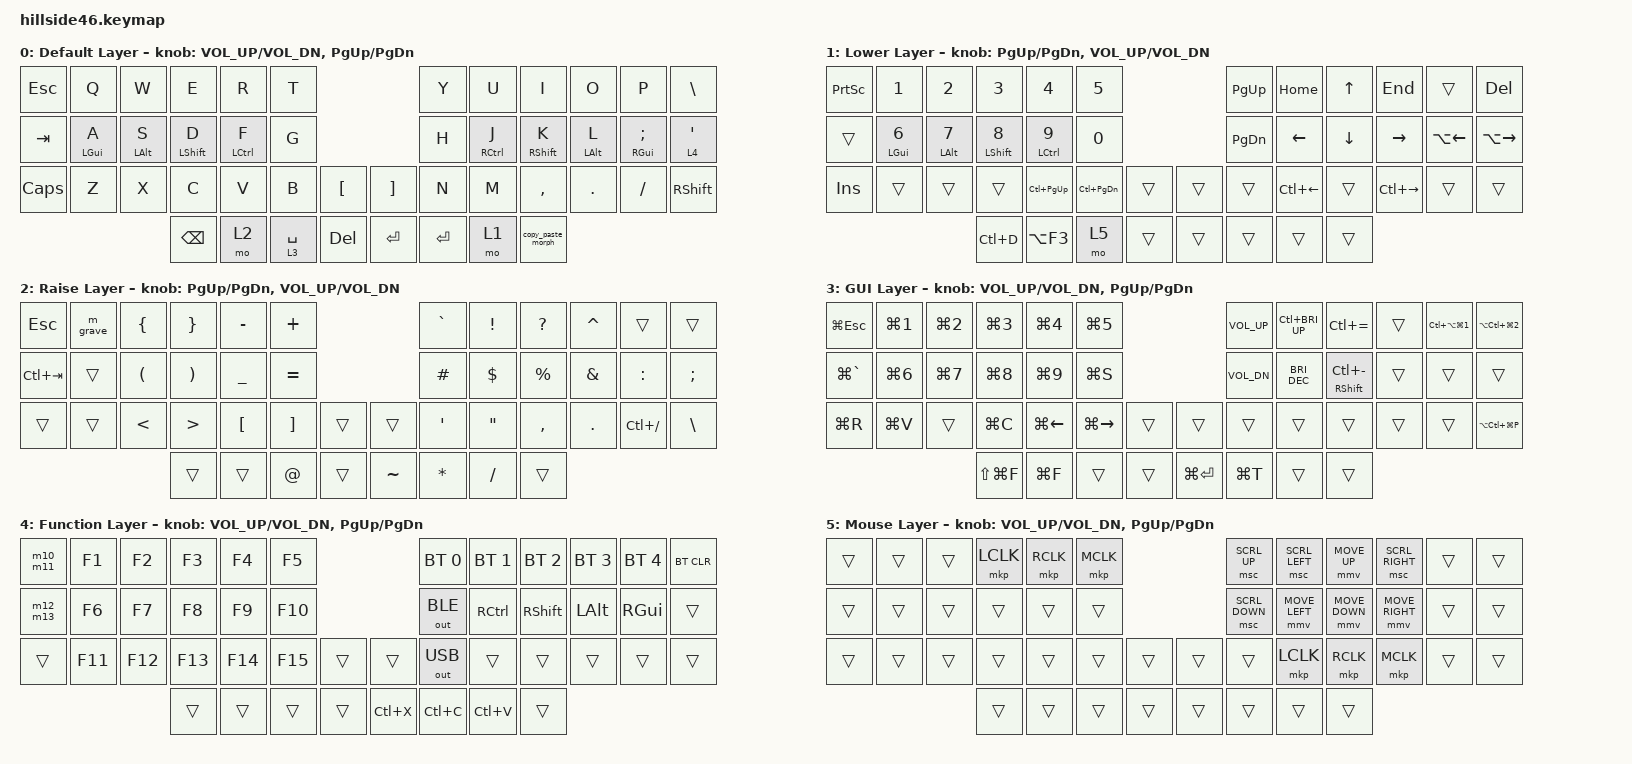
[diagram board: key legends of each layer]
/*
 * Copyright (c) 2020 The ZMK Contributors
 *
 * SPDX-License-Identifier: MIT
 */

#include <behaviors.dtsi>
#include <dt-bindings/zmk/bt.h>
#include <dt-bindings/zmk/keys.h>
#include <dt-bindings/zmk/outputs.h>
#include <dt-bindings/zmk/pointing.h>

/ {
    behaviors {
        hrm: hrm {
            compatible = "zmk,behavior-hold-tap";
            label = "HRM";
            bindings = <&kp>, <&kp>;

            #binding-cells = <2>;
            flavor = "balanced";
            tapping-term-ms = <200>;
        };

        copy_paste_morph: copy_paste_morph {
            compatible = "zmk,behavior-mod-morph";
            label = "COPY_PASTE_MORPH";
            bindings = <&kp LC(C)>, <&kp LC(V)>;

            #binding-cells = <0>;
            mods = <(MOD_RSFT)>;
        };

        m10_m11: m10_m11 {
            compatible = "zmk,behavior-mod-morph";
            label = "M10_M11";
            bindings = <&m10>, <&m11>;

            #binding-cells = <0>;
            mods = <(MOD_RGUI)>;
        };

        m12_m13: m12_m13 {
            compatible = "zmk,behavior-mod-morph";
            label = "M12_M13";
            bindings = <&m12>, <&m13>;

            #binding-cells = <0>;
            mods = <(MOD_RGUI)>;
        };
    };

    combos {
        compatible = "zmk,combos";

        lbkt {
            bindings = <&kp LBKT>;
            key-positions = <32 33>;
        };

        rbkt {
            bindings = <&kp RBKT>;
            key-positions = <34 35>;
        };
    };

    macros {
        m10: m10 {
            compatible = "zmk,behavior-macro";
            #binding-cells = <0>;
            bindings = <&kp M &kp N1 &kp N0>;
            label = "M10";
        };

        m11: m11 {
            compatible = "zmk,behavior-macro";
            #binding-cells = <0>;
            bindings = <&kp M &kp N1 &kp N1>;
            label = "M11";
        };

        m12: m13 {
            compatible = "zmk,behavior-macro";
            #binding-cells = <0>;
            bindings = <&kp M &kp N1 &kp N2>;
            label = "M13";
        };

        m13: m14 {
            compatible = "zmk,behavior-macro";
            #binding-cells = <0>;
            bindings = <&kp M &kp N1 &kp N3>;
            label = "M14";
        };

        m_grave: m_aster {
            compatible = "zmk,behavior-macro";
            #binding-cells = <0>;
            bindings =
                <&kp GRAVE &kp GRAVE &kp GRAVE>,
                <&macro_wait_time 10>,
                <&kp RET &kp RET>,
                <&macro_wait_time 10>,
                <&kp GRAVE &kp GRAVE &kp GRAVE>,
                <&macro_wait_time 10>,
                <&kp UP>;

            label = "M_ASTER";
        };
    };

    keymap {
        compatible = "zmk,keymap";

        default_layer {
            display-name = "Default Layer";

            // -----------------------------------------------------------------------------------------
            // |  ESC |  Q  |  W  |  E  |  R  |  T  |                  |  Y  |  U   |  I  |  O  |  P  | BSPC |
            // |  TAB |  A  |  S  |  D  |  F  |  G  |                  |  H  |  J   |  K  |  L  |  ;  |  '   |
            // | CAPS |  Z  |  X  |  C  |  V  |  B  | LBRC  |  |  RBRC |  N  |  M   |  ,  |  .  |  /  | SHFT |
            //                    | BSPC | LWR | SPC | DEL   |  |  RET  | ENT | RSE  | CPY |

            bindings = <
&kp ESCAPE  &kp Q        &kp W        &kp E          &kp R         &kp T                                           &kp Y    &kp U         &kp I              &kp O        &kp P           &kp BSLH
&kp TAB     &hrm LGUI A  &hrm LALT S  &hrm LSHIFT D  &hrm LCTRL F  &kp G                                           &kp H    &hrm RCTRL J  &hrm RSHIFT K      &hrm LALT L  &hrm RGUI SEMI  &lt 4 SQT
&kp CAPS    &kp Z        &kp X        &kp C          &kp V         &kp B        &kp LBKT           &kp RBKT        &kp N    &kp M         &kp COMMA          &kp DOT      &kp FSLH        &kp RSHIFT
                                      &kp BSPC       &mo 2         &lt 3 SPACE  &kp DELETE         &kp RET         &kp RET  &mo 1         &copy_paste_morph
            >;

            sensor-bindings = <&inc_dec_kp C_VOL_UP C_VOL_DN &inc_dec_kp PG_UP PG_DN>;
        };

        lower_layer {
            display-name = "Lower Layer";

            // -----------------------------------------------------------------------------------------
            // | PSCRN |  1  |  2  |  3  |  4  |  5  |                  | PGUP | HOME |  UP  | END  |     | DEL  |
            // | TRANS |  6  |  7  |  8  |  9  |  0  |                  | PGDN | LEFT | DOWN | RGT  | ALT←| ALT→ |
            // | INS   |     |     |     | C-PU| C-PD|       |  |       |      | C-← |      | C-→  |     |      |
            //                     | C-D | AF3 | MO5 |       |  |       |      |     |      |

            bindings = <
&kp PSCRN   &kp N1        &kp N2        &kp N3          &kp N4         &kp N5                                       &kp PG_UP  &kp HOME      &kp UP    &kp END        &trans        &kp DELETE
&trans      &hrm LGUI N6  &hrm LALT N7  &hrm LSHIFT N8  &hrm LCTRL N9  &kp N0                                       &kp PG_DN  &kp LEFT      &kp DOWN  &kp RIGHT      &kp LA(LEFT)  &kp LA(RIGHT)
&kp INSERT  &trans        &trans        &trans          &kp LC(PG_UP)  &kp LC(PG_DN)  &trans         &trans        &trans     &kp LC(LEFT)  &trans    &kp LC(RIGHT)  &trans        &trans
                                        &kp LC(D)       &kp LA(F3)     &mo 5          &trans         &trans        &trans     &trans        &trans
            >;

            sensor-bindings = <&inc_dec_kp PG_UP PG_DN &inc_dec_kp C_VOL_UP C_VOL_DN>;
        };

        raise_layer {
            display-name = "Raise Layer";

            // -----------------------------------------------------------------------------------------
            // |  ESC |  `  |  {  |  }  |  -  |  +  |                  |  `  |  !  |  ?  |  ^  |     |     |
            // | C-TAB|     |  (  |  )  |  _  |  =  |                  |  #  |  $  |  %  |  &  |  :  |  ;  |
            // | TRANS|     |  <  |  >  |  [  |  ]  |       |  |       |  '  |  "  |  ,  |  .  | C-/ |  \  |
            //                    |     |     |  @  |       |  |  ~    |  *  |  /  |

            bindings = <
&kp ESC      &m_grave  &kp LEFT_BRACE        &kp RIGHT_BRACE        &kp MINUS       &kp PLUS                                       &kp GRAVE  &kp EXCL           &kp QMARK    &kp CARET  &trans         &trans
&kp LC(TAB)  &trans    &kp LEFT_PARENTHESIS  &kp RIGHT_PARENTHESIS  &kp UNDERSCORE  &kp EQUAL                                      &kp HASH   &kp DOLLAR         &kp PERCENT  &kp AMPS   &kp COLON      &kp SEMICOLON
&trans       &trans    &kp LESS_THAN         &kp GREATER_THAN       &kp LBKT        &kp RBKT     &trans         &trans            &kp SQT    &kp DOUBLE_QUOTES  &kp COMMA    &kp DOT    &kp LC(SLASH)  &kp BACKSLASH
                                             &trans                 &trans          &kp AT       &trans         &kp TILDE         &kp STAR   &kp FSLH           &trans
            >;

            sensor-bindings = <&inc_dec_kp PG_UP PG_DN &inc_dec_kp C_VOL_UP C_VOL_DN>;
        };

        gui {
            display-name = "GUI Layer";

            bindings = <
&kp LG(ESC)    &kp LG(N1)  &kp LG(N2)  &kp LG(N3)     &kp LG(N4)    &kp LG(N5)                                          &kp C_VOL_UP   &kp LC(C_BRI_UP)  &kp LC(EQUAL)              &trans  &kp LC(LA(LG(N1)))  &kp LA(LC(LG(N2)))
&kp LG(GRAVE)  &kp LG(N6)  &kp LG(N7)  &kp LG(N8)     &kp LG(N9)    &kp LG(S)                                           &kp C_VOL_DN   &kp C_BRI_DEC     &mt RIGHT_SHIFT LC(MINUS)  &trans  &trans              &trans
&kp LG(R)      &kp LG(V)   &trans      &kp LG(C)      &kp LG(LEFT)  &kp LG(RIGHT)  &trans            &trans           &trans         &trans            &trans                     &trans  &trans              &kp LA(LC(LG(P)))
                                       &kp LS(LG(F))  &kp LG(F)     &trans         &trans            &kp LG(ENTER)    &kp LG(T)      &trans            &trans
            >;

            sensor-bindings = <&inc_dec_kp C_VOL_UP C_VOL_DN &inc_dec_kp PG_UP PG_DN>;
        };

        func {
            display-name = "Function Layer";

            bindings = <
&m10_m11  &kp F1   &kp F2   &kp F3   &kp F4   &kp F5                                 &bt BT_SEL 0  &bt BT_SEL 1  &bt BT_SEL 2  &bt BT_SEL 3  &bt BT_SEL 4  &bt BT_CLR
&m12_m13  &kp F6   &kp F7   &kp F8   &kp F9   &kp F10                                &out OUT_BLE  &kp RCTRL     &kp RSHFT     &kp LALT      &kp RGUI      &trans
&trans    &kp F11  &kp F12  &kp F13  &kp F14  &kp F15   &trans         &trans        &out OUT_USB  &trans        &trans        &trans        &trans        &trans
                            &trans   &trans   &trans    &trans         &kp LC(X)     &kp LC(C)     &kp LC(V)     &trans
            >;

            sensor-bindings = <&inc_dec_kp C_VOL_UP C_VOL_DN &inc_dec_kp PG_UP PG_DN>;
        };

        mouse {
            display-name = "Mouse Layer";

            bindings = <
&trans  &trans  &trans  &mkp LCLK  &mkp RCLK  &mkp MCLK                                     &msc SCRL_UP    &msc SCRL_LEFT  &mmv MOVE_UP    &msc SCRL_RIGHT  &trans  &trans
&trans  &trans  &trans  &trans     &trans     &trans                                        &msc SCRL_DOWN  &mmv MOVE_LEFT  &mmv MOVE_DOWN  &mmv MOVE_RIGHT  &trans  &trans
&trans  &trans  &trans  &trans     &trans     &trans     &trans         &trans             &trans          &mkp LCLK       &mkp RCLK       &mkp MCLK        &trans  &trans
                        &trans     &trans     &trans     &trans         &trans             &trans          &trans          &trans
            >;

            sensor-bindings = <&inc_dec_kp C_VOL_UP C_VOL_DN &inc_dec_kp PG_UP PG_DN>;
        };
    };
};
